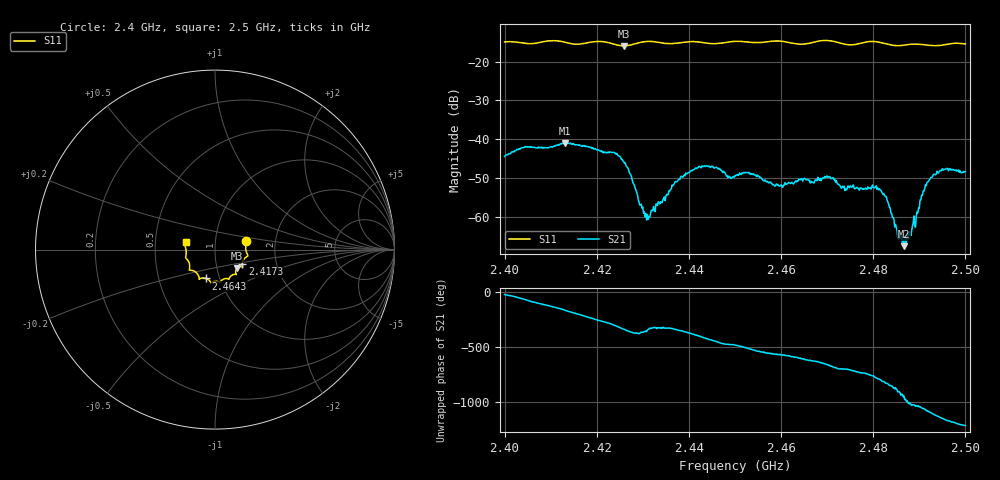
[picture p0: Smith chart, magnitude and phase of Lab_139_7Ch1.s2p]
# Hz S RI R 50
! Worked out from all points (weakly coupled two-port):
!   601 points, 2.4 GHz to 2.5 GHz, reference 50 ohm
!   highest |S21| = -40.96 dB at 2.4132 GHz (marker M1); lowest = -67.6 dB at 2.4867 GHz (marker M2)
!   lowest |S11| = -15.9 dB at 2.4258 GHz (marker M3), VSWR 1.38, Z = 62.3 - j13.3 ohm
!   |S11| at or under -10 dB: start of sweep to end of sweep
!   S12 and S22 are empty: the file has one direction only
!   S11 on the Smith chart (normalised r, x): 2.4 GHz: 1.41, +0.14; 2.4173 GHz: 1.34, -0.23; 2.4643 GHz: 0.86, -0.28; 2.5 GHz: 0.72, +0.06
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2.4e9  0.1732 0.0489  0.00547 -0.00244  0 0  0 0
2.413167e9  0.1728 -0.042  -0.00873 -0.00202  0 0  0 0
2.416667e9  0.1526 -0.0743  -0.00696 0.00419  0 0  0 0
2.417333e9  0.1517 -0.0817  -0.00639 0.00527  0 0  0 0
2.425833e9  0.1218 -0.1038  0.00478 0.00195  0 0  0 0
2.430667e9  0.1185 -0.1384  0.00109 0.000109  0 0  0 0
2.433333e9  0.113 -0.1373  0.00129 0.000876  0 0  0 0
2.441833e9  0.075 -0.1643  0.00352 -0.00241  0 0  0 0
2.45e9  0.0289 -0.181  -0.00179 -0.00288  0 0  0 0
2.46e9  -0.0244 -0.1825  -0.00219 0.00135  0 0  0 0
2.464333e9  -0.0499 -0.1606  -0.00126 0.00283  0 0  0 0
2.466667e9  -0.0761 -0.1591  -0.000286 0.00274  0 0  0 0
2.47e9  -0.088 -0.1659  0.00171 0.00289  0 0  0 0
2.473667e9  -0.0949 -0.1399  0.00231 0.000895  0 0  0 0
2.480167e9  -0.1434 -0.1126  0.00168 -0.00166  0 0  0 0
2.483333e9  -0.1407 -0.0897  -0.000729 -0.00127  0 0  0 0
2.485167e9  -0.1451 -0.07  -0.000639 -0.000157  0 0  0 0
2.486667e9  -0.153 -0.0579  -0.000298 0.000291  0 0  0 0
2.488667e9  -0.1622 -0.047  0.000459 0.00068  0 0  0 0
2.490833e9  -0.1624 -0.0354  0.002 0.000757  0 0  0 0
2.492667e9  -0.1606 -0.018  0.00306 -0.00097  0 0  0 0
2.5e9  -0.1638 0.0424  -0.00248 -0.00291  0 0  0 0
